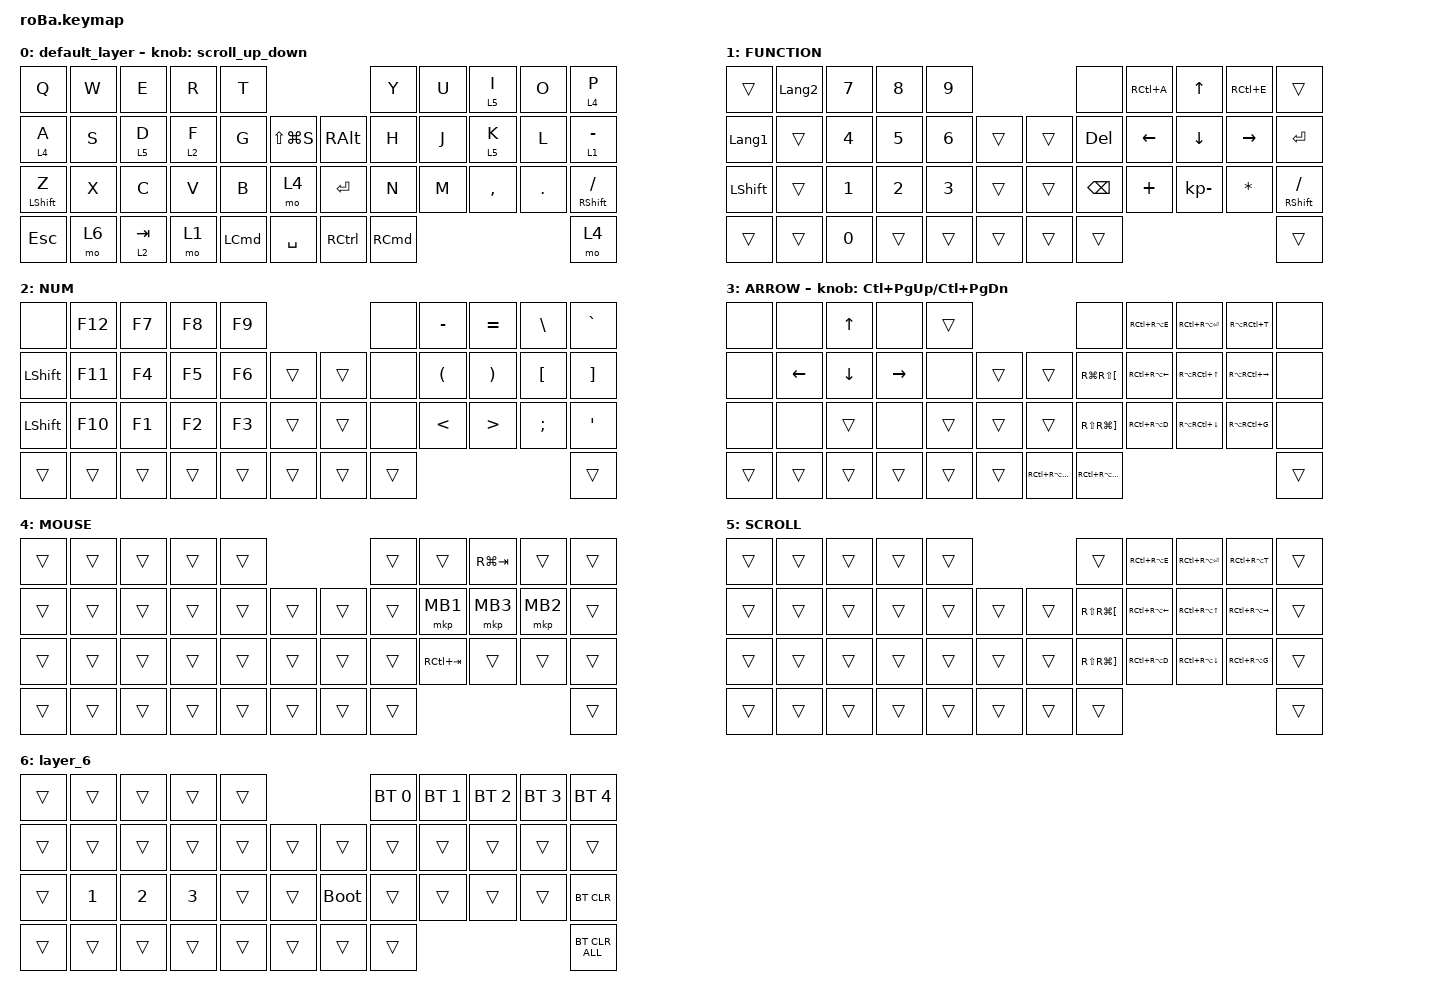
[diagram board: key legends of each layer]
#include <behaviors.dtsi>
#include <dt-bindings/zmk/bt.h>
#include <dt-bindings/zmk/keys.h>
#include <dt-bindings/zmk/pointing.h>

#define ZMK_MOUSE_POINTING_SCRL_VAL 100
#define MOUSE 4
#define SCROLL 5
#define NUM 6

&mt {
    flavor = "balanced";
    quick-tap-ms = <0>;
};

/ {
    combos {
        compatible = "zmk,combos";

        tab {
            bindings = <&kp TAB>;
            key-positions = <11 12>;
        };

        shift_tab {
            bindings = <&kp LS(TAB)>;
            key-positions = <12 13>;
        };

        muhennkann {
            bindings = <&to_layer_0 INT_MUHENKAN>;
            key-positions = <11 10>;
        };

        double_quotation {
            bindings = <&kp DOUBLE_QUOTES>;
            key-positions = <20 21>;
        };

        eq {
            bindings = <&kp EQUAL>;
            key-positions = <24 25>;
        };

        left_click {
            bindings = <&mkp MB1>;
            key-positions = <18 19>;
        };

        middle_click {
            bindings = <&mkp MB3>;
            key-positions = <31 30>;
        };

        right_click {
            bindings = <&mkp MB2>;
            key-positions = <19 20>;
        };
    };

    macros {
        to_layer_0: to_layer_0 {
            compatible = "zmk,behavior-macro-one-param";
            #binding-cells = <1>;
            bindings = <&to 0 &macro_param_1to1 &kp MACRO_PLACEHOLDER>;
            label = "TO_LAYER_0";
        };
    };

    behaviors {
        lt_to_layer_0: lt_to_layer_0 {
            compatible = "zmk,behavior-hold-tap";
            label = "LAYER_TAP_TO_0";
            bindings = <&mo>, <&to_layer_0>;

            #binding-cells = <2>;
            tapping-term-ms = <200>;
        };

        scroll_up_down: behavior_sensor_rotate_mouse_wheel_up_down {
            compatible = "zmk,behavior-sensor-rotate";
            #sensor-binding-cells = <0>;
            bindings = <&msc SCRL_DOWN>, <&msc SCRL_UP>;

            tap-ms = <20>;
        };
    };

    keymap {
        compatible = "zmk,keymap";

        default_layer {
            bindings = <
&kp Q             &kp W  &kp E      &kp R    &kp T                                                   &kp Y              &kp U  &lt 5 I    &kp O    &lt 4 P
&lt 4 A           &kp S  &lt 5 D    &lt 2 F  &kp G             &kp LS(LG(S))      &kp RIGHT_ALT      &kp H              &kp J  &lt 5 K    &kp L    &lt 1 MINUS
&mt LEFT_SHIFT Z  &kp X  &kp C      &kp V    &kp B             &mo 4              &kp ENTER          &kp N              &kp M  &kp COMMA  &kp DOT  &mt RIGHT_SHIFT SLASH
&kp ESC           &mo 6  &lt 2 TAB  &mo 1    &kp LEFT_COMMAND  &kp SPACE          &kp RIGHT_CONTROL  &kp RIGHT_COMMAND                             &mo 4
            >;

            sensor-bindings = <&scroll_up_down>;
        };

        FUNCTION {
            bindings = <
&trans          &kp LANGUAGE_2  &kp NUMBER_7  &kp NUMBER_8  &kp NUMBER_9                      &none          &kp RC(A)       &kp UP_ARROW    &kp RC(E)        &trans
&kp LANGUAGE_1  &trans          &kp NUMBER_4  &kp NUMBER_5  &kp NUMBER_6  &trans      &trans  &kp DEL        &kp LEFT_ARROW  &kp DOWN_ARROW  &kp RIGHT_ARROW  &kp ENTER
&kp LEFT_SHIFT  &trans          &kp NUMBER_1  &kp NUMBER_2  &kp NUMBER_3  &trans      &trans  &kp BACKSPACE  &kp PLUS        &kp KP_MINUS    &kp ASTERISK     &mt RIGHT_SHIFT SLASH
&trans          &trans          &kp NUMBER_0  &trans        &trans        &trans      &trans  &trans                                                          &trans
            >;
        };

        NUM {
            bindings = <
&none           &kp F12  &kp F7  &kp F8  &kp F9                      &none   &kp MINUS             &kp EQUAL              &kp BACKSLASH     &kp GRAVE
&kp LEFT_SHIFT  &kp F11  &kp F4  &kp F5  &kp F6  &trans      &trans  &none   &kp LEFT_PARENTHESIS  &kp RIGHT_PARENTHESIS  &kp LEFT_BRACKET  &kp RIGHT_BRACKET
&kp LEFT_SHIFT  &kp F10  &kp F1  &kp F2  &kp F3  &trans      &trans  &none   &kp LESS_THAN         &kp GREATER_THAN       &kp SEMICOLON     &kp SINGLE_QUOTE
&trans          &trans   &trans  &trans  &trans  &trans      &trans  &trans                                                                 &trans
            >;
        };

        ARROW {
            bindings = <
&none   &none           &kp UP_ARROW    &none            &trans                                          &none                        &kp RC(RA(E))           &kp RC(RA(ENTER))       &kp RA(RC(T))            &none
&none   &kp LEFT_ARROW  &kp DOWN_ARROW  &kp RIGHT_ARROW  &none   &trans      &trans                      &kp RG(RS(LEFT_BRACKET))     &kp RC(RA(LEFT_ARROW))  &kp RA(RC(UP_ARROW))    &kp RA(RC(RIGHT_ARROW))  &none
&none   &none           &trans          &none            &trans  &trans      &trans                      &kp RS(RG(RIGHT_BRACKET))    &kp RC(RA(D))           &kp RA(RC(DOWN_ARROW))  &kp RA(RC(G))            &none
&trans  &trans          &trans          &trans           &trans  &trans      &kp RC(RA(RG(LEFT_ARROW)))  &kp RC(RA(RG(RIGHT_ARROW)))                                                                           &trans
            >;

            sensor-bindings = <&inc_dec_kp LC(PAGE_UP) LC(PAGE_DOWN)>;
        };

        MOUSE {
            bindings = <
&trans  &trans  &trans  &trans  &trans                      &trans  &trans       &kp RG(TAB)  &trans    &trans
&trans  &trans  &trans  &trans  &trans  &trans      &trans  &trans  &mkp MB1     &mkp MB3     &mkp MB2  &trans
&trans  &trans  &trans  &trans  &trans  &trans      &trans  &trans  &kp RC(TAB)  &trans       &trans    &trans
&trans  &trans  &trans  &trans  &trans  &trans      &trans  &trans                                      &trans
            >;
        };

        SCROLL {
            bindings = <
&trans  &trans  &trans  &trans  &trans                      &trans                     &kp RC(RA(E))           &kp RC(RA(ENTER))       &kp RC(RA(T))            &trans
&trans  &trans  &trans  &trans  &trans  &trans      &trans  &kp RS(RG(LEFT_BRACKET))   &kp RC(RA(LEFT_ARROW))  &kp RC(RA(UP_ARROW))    &kp RC(RA(RIGHT_ARROW))  &trans
&trans  &trans  &trans  &trans  &trans  &trans      &trans  &kp RS(RG(RIGHT_BRACKET))  &kp RC(RA(D))           &kp RC(RA(DOWN_ARROW))  &kp RC(RA(G))            &trans
&trans  &trans  &trans  &trans  &trans  &trans      &trans  &trans                                                                                              &trans
            >;
        };

        layer_6 {
            bindings = <
&trans  &trans        &trans        &trans        &trans                           &bt BT_SEL 0  &bt BT_SEL 1  &bt BT_SEL 2  &bt BT_SEL 3  &bt BT_SEL 4
&trans  &trans        &trans        &trans        &trans  &trans      &trans       &trans        &trans        &trans        &trans        &trans
&trans  &kp NUMBER_1  &kp NUMBER_2  &kp NUMBER_3  &trans  &trans      &bootloader  &trans        &trans        &trans        &trans        &bt BT_CLR
&trans  &trans        &trans        &trans        &trans  &trans      &trans       &trans                                                  &bt BT_CLR_ALL
            >;
        };
    };
};
